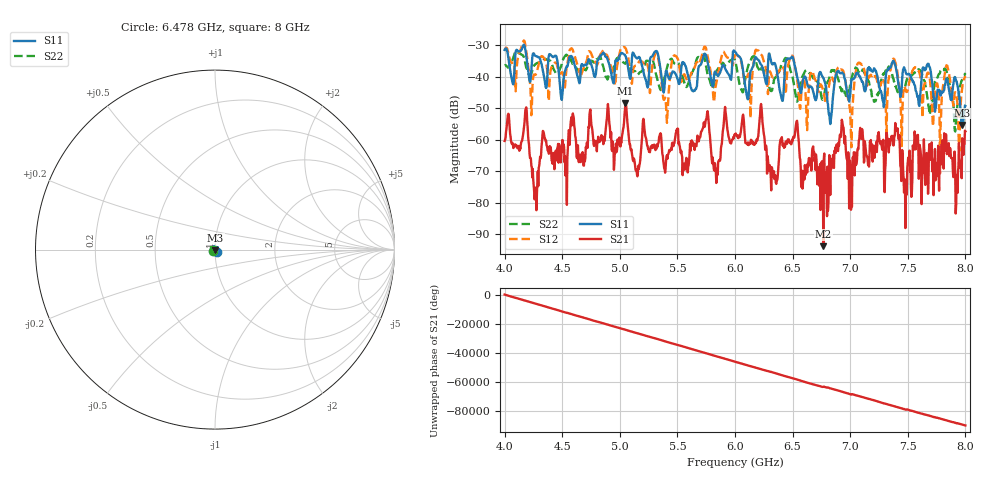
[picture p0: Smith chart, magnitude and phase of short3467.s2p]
# Hz  S  RI  R  50.0
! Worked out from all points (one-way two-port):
!   1000 points, 4 GHz to 8 GHz, reference 50 ohm
!   highest |S21| = -48.47 dB at 5.049 GHz (marker M1); lowest = -93.8 dB at 6.767 GHz (marker M2)
!   lowest |S11| = -55.3 dB at 7.968 GHz (marker M3), VSWR 1.00, Z = 50.1 - j0.138 ohm
!   |S11| at or under -10 dB: start of sweep to end of sweep
!   |S22| runs from -57.4 to -32.0 dB; largest |S21 - S12| = 0.038
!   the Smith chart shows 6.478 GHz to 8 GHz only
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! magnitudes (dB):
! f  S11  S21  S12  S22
! 4 GHz  -31.5  -60.4  -31.6  -36.4
! 4.184 GHz  -32.4  -50.1  -30.9  -36.8
! 4.272 GHz  -33.5  -75.2  -39.2  -35.9
! 4.34 GHz  -39.6  -57.9  -34.1  -34.6
! 4.669 GHz  -36.1  -64.5  -39.0  -37.5
! 5.049 GHz  -33.5  -48.5  -30.9  -35.9
! 5.149 GHz  -34.2  -71.1  -36.5  -39.3
! 5.337 GHz  -34.1  -60.8  -34.9  -42.5
! 5.397 GHz  -39.0  -69.2  -47.2  -38.8
! 5.473 GHz  -38.6  -61.2  -33.3  -35.8
! 6.002 GHz  -32.2  -58.7  -33.2  -35.1
! 6.667 GHz  -43.5  -65.6  -38.3  -39.6
! 6.767 GHz  -40.4  -93.8  -44.7  -46.8
! 6.823 GHz  -53.7  -67.6  -41.4  -39.8
! 6.927 GHz  -38.9  -53.7  -37.9  -44.7
! 6.999 GHz  -46.3  -66.8  -50.5  -42.8
! 7.335 GHz  -37.7  -64.1  -40.6  -36.8
! 7.479 GHz  -38.2  -88.1  -43.9  -42.8
! 7.568 GHz  -44.4  -63.1  -37.2  -38.1
! 7.912 GHz  -40.3  -71.8  -45.0  -57.4
! 7.968 GHz  -55.3  -72.3  -45.0  -41.2
! 8 GHz  -49.3  -57.4  -40.4  -39.4
